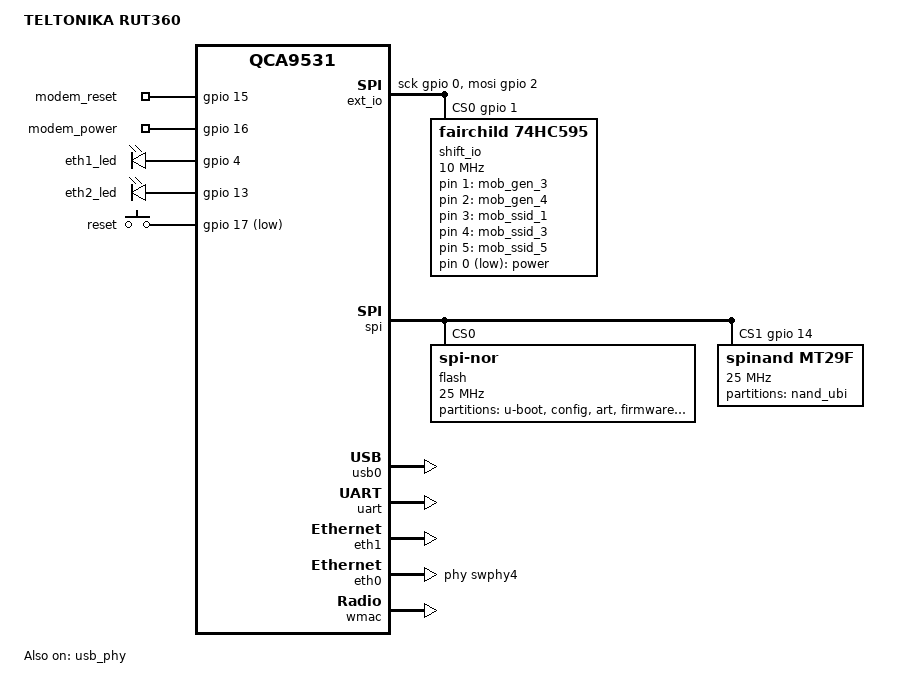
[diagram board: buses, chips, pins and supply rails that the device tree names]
// SPDX-License-Identifier: GPL-2.0-or-later OR MIT
/dts-v1/;

#include <dt-bindings/gpio/gpio.h>
#include <dt-bindings/input/input.h>
#include "qca953x.dtsi"
#include "platform_name.dtsi"

/ {
	compatible = "teltonika,rut36x", "qca,qca9531";
	model = "TELTONIKA RUT360";

	aliases {
		serial0 = &uart;
	};

	ext_io {
		compatible = "spi-gpio";
		#address-cells = <1>;
		#size-cells = <0>;

		gpio-sck = <&gpio 0 GPIO_ACTIVE_HIGH>;  // SRCLK
		gpio-mosi = <&gpio 2 GPIO_ACTIVE_HIGH>; // SER
		cs-gpios = <&gpio 1 GPIO_ACTIVE_HIGH>;  // RCLK
		num-chipselects = <1>;

		shift_io: shift_io@0 {
			compatible = "fairchild,74hc595";
			reg = <0>;
			gpio-controller;
			#gpio-cells = <2>;
			registers-number = <2>;
			spi-max-frequency = <10000000>;
		};
	};

	gpio-export {
		compatible = "gpio-export";
		#size-cells = <0>;

		gpio_modem_reset {
			gpio-export,name = "modem_reset";
			gpio-export,output = <0>;
			gpios = <&gpio 15 GPIO_ACTIVE_HIGH>;
		};

		gpio_modem_power {
			gpio-export,name = "modem_power";
			gpio-export,output = <0>;
			gpios = <&gpio 16 GPIO_ACTIVE_HIGH>;
		};
	};

	leds {
		compatible = "gpio-leds";

		eth1_led {
			label = "eth1_led";
			gpios = <&gpio 4 GPIO_ACTIVE_HIGH>;
		};

		eth2_led {
			label = "eth2_led";
			gpios = <&gpio 13 GPIO_ACTIVE_HIGH>;
		};

		led_gen_3 {
			label = "mob_gen_3";
			gpios = <&shift_io 1 GPIO_ACTIVE_HIGH>;
		};

		led_gen_4 {
			label = "mob_gen_4";
			gpios = <&shift_io 2 GPIO_ACTIVE_HIGH>;
		};

		led_ssid_1 {
			label = "mob_ssid_1";
			gpios = <&shift_io 3 GPIO_ACTIVE_HIGH>;
			linux,default-trigger = "timer";
		};

		led_ssid_3 {
			label = "mob_ssid_3";
			gpios = <&shift_io 4 GPIO_ACTIVE_HIGH>;
			linux,default-trigger = "timer";
		};

		led_ssid_5 {
			label = "mob_ssid_5";
			gpios = <&shift_io 5 GPIO_ACTIVE_HIGH>;
			linux,default-trigger = "timer";
		};

		led_power {
			label = "power";
			gpios = <&shift_io 0 GPIO_ACTIVE_LOW>;
			default-state = "on";
		};
	};

	keys {
		compatible = "gpio-keys";

		reset {
			label = "reset";
			linux,code = <KEY_RESTART>;
			gpios = <&gpio 17 GPIO_ACTIVE_LOW>;
		};
	};
};

&spi {
	status = "okay";
	num-cs = <2>;
	cs-gpios = <0>, <&gpio 14 0>;

	flash@0 {
		compatible = "jedec,spi-nor";
		reg = <0>;
		spi-max-frequency = <25000000>;

		partitions {
			compatible = "fixed-partitions";
			#address-cells = <1>;
			#size-cells = <1>;

			partition@0 {
				label = "u-boot";
				reg = <0x000000 0x020000>;
				read-only;
			};

			config: partition@20000 {
				label = "config";
				reg = <0x020000 0x010000>;
				read-only;
			};

			art: partition@30000 {
				label = "art";
				reg = <0x030000 0x010000>;
				read-only;
			};

			partition@40000 {
				compatible = "denx,uimage";
				label = "firmware";
				reg = <0x040000 0xf30000>;
			};

			partition@f70000 {
				label = "event-log";
				reg = <0xf70000 0x090000>;
			};
		};
	};

	mt29f: flash@1 {
		compatible = "spinand,mt29f";
		reg = <1>;
		spi-max-frequency = <25000000>;

		partitions {
			compatible = "fixed-partitions";
			#address-cells = <1>;
			#size-cells = <1>;

			nand_ubi: partition@0 {
				label = "nand_ubi";
				reg = <0x000000 0x10000000>;
			};
		};
	};
};

&usb0 {
	#address-cells = <1>;
	#size-cells = <0>;
	status = "okay";

	hub_port0: port@1 {
		reg = <1>;
		#trigger-source-cells = <0>;
	};
};

&usb_phy {
	status = "okay";
};

&uart {
	status = "okay";
};

&eth1 {
	status = "okay";
	mtd-mac-address = <&config 0x0>;
};

&eth0 {
	status = "okay";
	phy-handle = <&swphy4>;
	mtd-mac-address = <&config 0x0>;
	mtd-mac-address-increment = <1>;
};

&wmac {
	status = "okay";
	mtd-cal-data = <&art 0x1000>;
	mtd-mac-address = <&config 0x0>;
	mtd-mac-address-increment = <2>;
};
